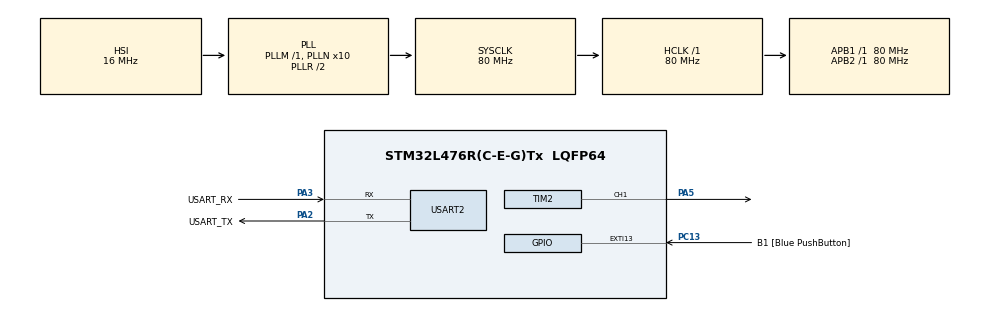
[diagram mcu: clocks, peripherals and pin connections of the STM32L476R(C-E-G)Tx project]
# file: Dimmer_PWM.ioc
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Mcu.Family=STM32L4
Mcu.Name=STM32L476R(C-E-G)Tx
Mcu.Package=LQFP64
NVIC.EXTI15_10_IRQn=true\:0\:0\:false\:false\:true\:true\:true
NVIC.PriorityGroup=NVIC_PRIORITYGROUP_4
PA13\ (JTMS-SWDIO).GPIO_Label=TMS
PA13\ (JTMS-SWDIO).Mode=Serial_Wire
PA13\ (JTMS-SWDIO).Signal=SYS_JTMS-SWDIO
PA14\ (JTCK-SWCLK).GPIO_Label=TCK
PA14\ (JTCK-SWCLK).Mode=Serial_Wire
PA14\ (JTCK-SWCLK).Signal=SYS_JTCK-SWCLK
PA2.GPIO_Label=USART_TX
PA2.GPIO_Mode=GPIO_MODE_AF_PP
PA2.GPIO_PuPd=GPIO_NOPULL
PA2.GPIO_Speed=GPIO_SPEED_FREQ_VERY_HIGH
PA2.Mode=Asynchronous
PA2.Signal=USART2_TX
PA3.GPIO_Label=USART_RX
PA3.GPIO_Mode=GPIO_MODE_AF_PP
PA3.GPIO_PuPd=GPIO_NOPULL
PA3.GPIO_Speed=GPIO_SPEED_FREQ_VERY_HIGH
PA3.Mode=Asynchronous
PA3.Signal=USART2_RX
PA5.Signal=S_TIM2_CH1
PB3\ (JTDO-TRACESWO).GPIO_Label=SWO
PB3\ (JTDO-TRACESWO).Signal=SYS_JTDO-SWO
PC13.GPIO_Label=B1 [Blue PushButton]
PC13.GPIO_ModeDefaultEXTI=GPIO_MODE_IT_FALLING
PC13.GPIO_PuPd=GPIO_NOPULL
PC13.Signal=GPXTI13
PC14-OSC32_IN\ (PC14).Signal=RCC_OSC32_IN
PC15-OSC32_OUT\ (PC15).Signal=RCC_OSC32_OUT
PH0-OSC_IN\ (PH0).Signal=RCC_OSC_IN
PH1-OSC_OUT\ (PH1).Signal=RCC_OSC_OUT
ProjectManager.HeapSize=0x200
ProjectManager.StackSize=0x400
ProjectManager.TargetToolchain=STM32CubeIDE
RCC.ADCFreq_Value=64000000
RCC.AHBFreq_Value=80000000
RCC.APB1Freq_Value=80000000
RCC.APB1TimFreq_Value=80000000
RCC.APB2Freq_Value=80000000
RCC.APB2TimFreq_Value=80000000
RCC.CortexFreq_Value=80000000
RCC.HCLKFreq_Value=80000000
RCC.HSE_VALUE=8000000
RCC.HSI_VALUE=16000000
RCC.MSI_VALUE=4000000
RCC.PLLN=10
RCC.PLLSourceVirtual=RCC_PLLSOURCE_HSI
RCC.PREFETCH_ENABLE=1
RCC.SYSCLKFreq_VALUE=80000000
RCC.SYSCLKSource=RCC_SYSCLKSOURCE_PLLCLK
RCC.USBFreq_Value=64000000
RCC.VCOOutputFreq_Value=160000000
SH.S_TIM2_CH1.0=TIM2_CH1,PWM Generation1 CH1
TIM2.Channel-PWM\ Generation1\ CH1=TIM_CHANNEL_1
TIM2.Period=1000
TIM2.Prescaler=40
USART2.VirtualMode-Asynchronous=VM_ASYNC
VP_TIM2_VS_ClockSourceINT.Mode=Internal
board=NUCLEO-L476RG

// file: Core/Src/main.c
/* USER CODE BEGIN Header */
/**
  ******************************************************************************
  * @file           : main.c
  * @brief          : Main program body
  ******************************************************************************
  * @attention
  *
  * <h2><center>&copy; Copyright (c) 2020 STMicroelectronics.
  * All rights reserved.</center></h2>
  *
  * This software component is licensed by ST under BSD 3-Clause license,
  * the "License"; You may not use this file except in compliance with the
  * License. You may obtain a copy of the License at:
  *                        opensource.org/licenses/BSD-3-Clause
  *
  ******************************************************************************
  */
/* USER CODE END Header */

#include "main.h"

TIM_HandleTypeDef htim2;

UART_HandleTypeDef huart2;

/* USER CODE BEGIN PV */
extern TIM_HandleTypeDef htim2;
uint16_t dutty;
/* USER CODE END PV */

void SystemClock_Config(void);
static void MX_GPIO_Init(void);
static void MX_USART2_UART_Init(void);
static void MX_TIM2_Init(void);

int main(void)
{

  /* MCU Configuration--------------------------------------------------------*/

  /* Reset of all peripherals, Initializes the Flash interface and the Systick. */
  HAL_Init();

  /* Configure the system clock */
  SystemClock_Config();

  /* Initialize all configured peripherals */
  MX_GPIO_Init();
  MX_USART2_UART_Init();
  MX_TIM2_Init();
  /* USER CODE BEGIN 2 */
  estado_led=Apagado;
  tempo=0;
  tiemp=0;
  tick_time=0;
  Revisaboton=0;
  Tsw=4000;
  Toff=10000;
  flag=0;
  camb=1;

  HAL_TIM_PWM_Start(&htim2, TIM_CHANNEL_1);
  /* USER CODE END 2 */

  /* Infinite loop */
  /* USER CODE BEGIN WHILE */
  while (1)
  {
	  switch(estado_led)
	 	  {
	 	  case (Apagado):
	 			  if (flag==1){
	 				  if(tick_time>=tiemp+Toff)
	 				  {
	 					  estado_led=Encendido;
	 					  tiemp=tick_time;
	 					}
	 					else
	 					{
	 						estado_led=Atenuado;
	 						tiemp=tick_time;
	 					}
	 					flag=0;
	 					camb=1;
	 				}
	 				else{
	 					if (camb==1){
		 					dutty=0;
		 					__HAL_TIM_SET_COMPARE(&htim2, TIM_CHANNEL_1, dutty);
		 					camb=0;
	 						}
	 				}
	 		break;
	 		case (Atenuado):
	 			if (flag==1){
	 				if(tick_time>=tiemp+Tsw)
	 				{
	 					estado_led=Apagado;
	 					tiemp=tick_time;
	 				}
	 				else
	 				{
	 					estado_led=Encendido;
	 					tiemp=tick_time;
	 				}
	 				flag=0;
	 				camb=1;
	 			}
	 			else{
	 				if (camb==1){
	 					dutty=300;
	 					__HAL_TIM_SET_COMPARE(&htim2, TIM_CHANNEL_1, dutty);
	 					camb=0;
	 				}
	 			}
	 		break;
	 		case (Encendido):
	 				if (flag==1)
	 				{
	 					if(tick_time>=tiemp+Tsw)
	 					{
	 						estado_led=Atenuado;
	 						tiemp=tick_time;
	 					}
	 					else
	 						{
	 						estado_led=Apagado;
	 						tiemp=tick_time;
	 						}
	 					flag=0;
	 					camb=1;
	 				}
	 				else
	 				{
	 					if (camb==1){
	 						dutty=1000;
	 						__HAL_TIM_SET_COMPARE(&htim2, TIM_CHANNEL_1, dutty);
	 						camb=0;
	 					}
	 				}
	 		break;
	 		}
    /* USER CODE END WHILE */

  }
}

void SystemClock_Config(void)
{
  RCC_OscInitTypeDef RCC_OscInitStruct = {0};
  RCC_ClkInitTypeDef RCC_ClkInitStruct = {0};
  RCC_PeriphCLKInitTypeDef PeriphClkInit = {0};

  /** Initializes the CPU, AHB and APB busses clocks
  */
  RCC_OscInitStruct.OscillatorType = RCC_OSCILLATORTYPE_HSI;
  RCC_OscInitStruct.HSIState = RCC_HSI_ON;
  RCC_OscInitStruct.HSICalibrationValue = RCC_HSICALIBRATION_DEFAULT;
  RCC_OscInitStruct.PLL.PLLState = RCC_PLL_ON;
  RCC_OscInitStruct.PLL.PLLSource = RCC_PLLSOURCE_HSI;
  RCC_OscInitStruct.PLL.PLLM = 1;
  RCC_OscInitStruct.PLL.PLLN = 10;
  RCC_OscInitStruct.PLL.PLLP = RCC_PLLP_DIV7;
  RCC_OscInitStruct.PLL.PLLQ = RCC_PLLQ_DIV2;
  RCC_OscInitStruct.PLL.PLLR = RCC_PLLR_DIV2;
  if (HAL_RCC_OscConfig(&RCC_OscInitStruct) != HAL_OK)
  {
    Error_Handler();
  }
  /** Initializes the CPU, AHB and APB busses clocks
  */
  RCC_ClkInitStruct.ClockType = RCC_CLOCKTYPE_HCLK|RCC_CLOCKTYPE_SYSCLK
                              |RCC_CLOCKTYPE_PCLK1|RCC_CLOCKTYPE_PCLK2;
  RCC_ClkInitStruct.SYSCLKSource = RCC_SYSCLKSOURCE_PLLCLK;
  RCC_ClkInitStruct.AHBCLKDivider = RCC_SYSCLK_DIV1;
  RCC_ClkInitStruct.APB1CLKDivider = RCC_HCLK_DIV1;
  RCC_ClkInitStruct.APB2CLKDivider = RCC_HCLK_DIV1;

  if (HAL_RCC_ClockConfig(&RCC_ClkInitStruct, FLASH_LATENCY_4) != HAL_OK)
  {
    Error_Handler();
  }
  PeriphClkInit.PeriphClockSelection = RCC_PERIPHCLK_USART2;
  PeriphClkInit.Usart2ClockSelection = RCC_USART2CLKSOURCE_PCLK1;
  if (HAL_RCCEx_PeriphCLKConfig(&PeriphClkInit) != HAL_OK)
  {
    Error_Handler();
  }
  /** Configure the main internal regulator output voltage
  */
  if (HAL_PWREx_ControlVoltageScaling(PWR_REGULATOR_VOLTAGE_SCALE1) != HAL_OK)
  {
    Error_Handler();
  }
}

static void MX_TIM2_Init(void)
{

  TIM_ClockConfigTypeDef sClockSourceConfig = {0};
  TIM_MasterConfigTypeDef sMasterConfig = {0};
  TIM_OC_InitTypeDef sConfigOC = {0};

  htim2.Instance = TIM2;
  htim2.Init.Prescaler = 40;
  htim2.Init.CounterMode = TIM_COUNTERMODE_UP;
  htim2.Init.Period = 1000;
  htim2.Init.ClockDivision = TIM_CLOCKDIVISION_DIV1;
  htim2.Init.AutoReloadPreload = TIM_AUTORELOAD_PRELOAD_DISABLE;
  if (HAL_TIM_Base_Init(&htim2) != HAL_OK)
  {
    Error_Handler();
  }
  sClockSourceConfig.ClockSource = TIM_CLOCKSOURCE_INTERNAL;
  if (HAL_TIM_ConfigClockSource(&htim2, &sClockSourceConfig) != HAL_OK)
  {
    Error_Handler();
  }
  if (HAL_TIM_PWM_Init(&htim2) != HAL_OK)
  {
    Error_Handler();
  }
  sMasterConfig.MasterOutputTrigger = TIM_TRGO_RESET;
  sMasterConfig.MasterSlaveMode = TIM_MASTERSLAVEMODE_DISABLE;
  if (HAL_TIMEx_MasterConfigSynchronization(&htim2, &sMasterConfig) != HAL_OK)
  {
    Error_Handler();
  }
  sConfigOC.OCMode = TIM_OCMODE_PWM1;
  sConfigOC.Pulse = 0;
  sConfigOC.OCPolarity = TIM_OCPOLARITY_HIGH;
  sConfigOC.OCFastMode = TIM_OCFAST_DISABLE;
  if (HAL_TIM_PWM_ConfigChannel(&htim2, &sConfigOC, TIM_CHANNEL_1) != HAL_OK)
  {
    Error_Handler();
  }
  HAL_TIM_MspPostInit(&htim2);

}

static void MX_USART2_UART_Init(void)
{

  huart2.Instance = USART2;
  huart2.Init.BaudRate = 115200;
  huart2.Init.WordLength = UART_WORDLENGTH_8B;
  huart2.Init.StopBits = UART_STOPBITS_1;
  huart2.Init.Parity = UART_PARITY_NONE;
  huart2.Init.Mode = UART_MODE_TX_RX;
  huart2.Init.HwFlowCtl = UART_HWCONTROL_NONE;
  huart2.Init.OverSampling = UART_OVERSAMPLING_16;
  huart2.Init.OneBitSampling = UART_ONE_BIT_SAMPLE_DISABLE;
  huart2.AdvancedInit.AdvFeatureInit = UART_ADVFEATURE_NO_INIT;
  if (HAL_UART_Init(&huart2) != HAL_OK)
  {
    Error_Handler();
  }

}

static void MX_GPIO_Init(void)
{
  GPIO_InitTypeDef GPIO_InitStruct = {0};

  /* GPIO Ports Clock Enable */
  __HAL_RCC_GPIOC_CLK_ENABLE();
  __HAL_RCC_GPIOH_CLK_ENABLE();
  __HAL_RCC_GPIOA_CLK_ENABLE();
  __HAL_RCC_GPIOB_CLK_ENABLE();

  /*Configure GPIO pin : B1_Pin */
  GPIO_InitStruct.Pin = B1_Pin;
  GPIO_InitStruct.Mode = GPIO_MODE_IT_FALLING;
  GPIO_InitStruct.Pull = GPIO_NOPULL;
  HAL_GPIO_Init(B1_GPIO_Port, &GPIO_InitStruct);

  /* EXTI interrupt init*/
  HAL_NVIC_SetPriority(EXTI15_10_IRQn, 0, 0);
  HAL_NVIC_EnableIRQ(EXTI15_10_IRQn);

}

void Error_Handler(void)
{
}

/************************ (C) COPYRIGHT STMicroelectronics *****END OF FILE****/
